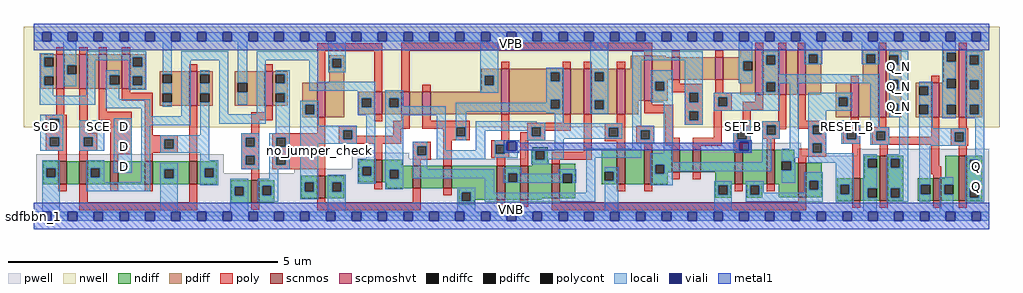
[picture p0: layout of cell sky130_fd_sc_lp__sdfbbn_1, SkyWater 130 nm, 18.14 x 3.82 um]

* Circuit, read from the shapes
.subckt sky130_fd_sc_lp__sdfbbn_1 CLK_N D RESET_B SCD SCE SET_B VGND VNB VPB VPWR Q Q_N
XM1 n1 SCD VGND VNB sky130_fd_pr__nfet_01v8 w=0.42 l=0.15
XM2 n2 SCE n1 VNB sky130_fd_pr__nfet_01v8 w=0.42 l=0.15
XM3 n3 D n2 VNB sky130_fd_pr__nfet_01v8 w=0.42 l=0.15
XM4 VGND n4 n3 VNB sky130_fd_pr__nfet_01v8 w=0.42 l=0.15
XM5 n4 SCE VGND VNB sky130_fd_pr__nfet_01v8 w=0.42 l=0.15
XM6 n5 CLK_N VGND VNB sky130_fd_pr__nfet_01v8 w=0.42 l=0.15
XM7 VGND n5 n6 VNB sky130_fd_pr__nfet_01v8 w=0.42 l=0.15
XM8 n7 n6 n2 VNB sky130_fd_pr__nfet_01v8 w=0.42 l=0.15
XM9 n8 n5 n7 VNB sky130_fd_pr__nfet_01v8 w=0.42 l=0.15
XM10 VGND n9 n8 VNB sky130_fd_pr__nfet_01v8 w=0.42 l=0.15
XM11 n10 SET_B VGND VNB sky130_fd_pr__nfet_01v8 w=0.64 l=0.15
XM12 n9 n7 n10 VNB sky130_fd_pr__nfet_01v8 w=0.64 l=0.15
XM13 n10 n11 n9 VNB sky130_fd_pr__nfet_01v8 w=0.64 l=0.15
XM14 n12 n9 VGND VNB sky130_fd_pr__nfet_01v8 w=0.64 l=0.15
XM15 n13 n5 n12 VNB sky130_fd_pr__nfet_01v8 w=0.64 l=0.15
XM16 n14 n6 n13 VNB sky130_fd_pr__nfet_01v8 w=0.42 l=0.15
XM17 VGND n15 n14 VNB sky130_fd_pr__nfet_01v8 w=0.42 l=0.15
XM18 n16 SET_B VGND VNB sky130_fd_pr__nfet_01v8 w=0.64 l=0.15
XM19 n15 n13 n16 VNB sky130_fd_pr__nfet_01v8 w=0.64 l=0.15
XM20 n16 n11 n15 VNB sky130_fd_pr__nfet_01v8 w=0.64 l=0.15
XM21 VGND RESET_B n11 VNB sky130_fd_pr__nfet_01v8 w=0.42 l=0.15
XM22 Q_N n15 VGND VNB sky130_fd_pr__nfet_01v8 w=0.84 l=0.15
XM23 VGND n15 n17 VNB sky130_fd_pr__nfet_01v8 w=0.42 l=0.15
XM24 Q n17 VGND VNB sky130_fd_pr__nfet_01v8 w=0.84 l=0.15
XM25 VPWR SCD n18 VPB sky130_fd_pr__pfet_01v8_hvt w=0.64 l=0.15
XM26 n19 SCE VPWR VPB sky130_fd_pr__pfet_01v8_hvt w=0.64 l=0.15
XM27 n2 D n19 VPB sky130_fd_pr__pfet_01v8_hvt w=0.64 l=0.15
XM28 n18 n4 n2 VPB sky130_fd_pr__pfet_01v8_hvt w=0.64 l=0.15
XM29 n4 SCE VPWR VPB sky130_fd_pr__pfet_01v8_hvt w=0.64 l=0.15
XM30 n5 CLK_N VPWR VPB sky130_fd_pr__pfet_01v8_hvt w=0.64 l=0.15
XM31 VPWR n5 n6 VPB sky130_fd_pr__pfet_01v8_hvt w=0.64 l=0.15
XM32 n7 n5 n2 VPB sky130_fd_pr__pfet_01v8_hvt w=0.42 l=0.15
XM33 n20 n6 n7 VPB sky130_fd_pr__pfet_01v8_hvt w=0.42 l=0.15
XM34 VPWR n9 n20 VPB sky130_fd_pr__pfet_01v8_hvt w=0.42 l=0.15
XM35 n9 SET_B VPWR VPB sky130_fd_pr__pfet_01v8_hvt w=0.84 l=0.15
XM36 n21 n7 n9 VPB sky130_fd_pr__pfet_01v8_hvt w=0.84 l=0.15
XM37 VPWR n11 n21 VPB sky130_fd_pr__pfet_01v8_hvt w=0.84 l=0.15
XM38 n22 n9 VPWR VPB sky130_fd_pr__pfet_01v8_hvt w=0.84 l=0.15
XM39 n13 n6 n22 VPB sky130_fd_pr__pfet_01v8_hvt w=0.84 l=0.15
XM40 n23 n5 n13 VPB sky130_fd_pr__pfet_01v8_hvt w=0.42 l=0.15
XM41 VPWR n15 n23 VPB sky130_fd_pr__pfet_01v8_hvt w=0.42 l=0.15
XM42 n15 SET_B VPWR VPB sky130_fd_pr__pfet_01v8_hvt w=0.84 l=0.15
XM43 n24 n13 n15 VPB sky130_fd_pr__pfet_01v8_hvt w=0.84 l=0.15
XM44 VPWR n11 n24 VPB sky130_fd_pr__pfet_01v8_hvt w=0.84 l=0.15
XM45 VPWR RESET_B n11 VPB sky130_fd_pr__pfet_01v8_hvt w=0.64 l=0.15
XM46 Q_N n15 VPWR VPB sky130_fd_pr__pfet_01v8_hvt w=1.26 l=0.15
XM47 VPWR n15 n17 VPB sky130_fd_pr__pfet_01v8_hvt w=0.64 l=0.15
XM48 Q n17 VPWR VPB sky130_fd_pr__pfet_01v8_hvt w=1.26 l=0.15
.ends

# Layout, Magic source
magic
tech sky130A
magscale 1 2
<< nwell >>
rect -38 331 3590 704
<< pwell >>
rect 1828 273 1937 281
rect 9 160 707 229
rect 1183 214 1395 235
rect 1828 224 2853 273
rect 3062 224 3551 251
rect 1828 214 3551 224
rect 1183 176 3551 214
rect 969 160 3551 176
rect 9 49 3551 160
rect 0 0 3552 49
<< scnmos >>
rect 92 119 122 203
rect 170 119 200 203
rect 284 119 314 203
rect 412 119 442 203
rect 578 119 608 203
rect 808 50 838 134
rect 1054 66 1084 150
rect 1266 125 1296 209
rect 1409 104 1439 188
rect 1523 104 1553 188
rect 1722 60 1752 188
rect 1809 60 1839 188
rect 1926 66 1956 194
rect 2168 119 2198 247
rect 2269 119 2299 247
rect 2371 163 2401 247
rect 2449 163 2479 247
rect 2606 119 2636 247
rect 2724 119 2754 247
rect 2842 70 2872 198
rect 3043 57 3073 141
rect 3145 57 3175 225
rect 3343 57 3373 141
rect 3438 57 3468 225
<< scpmoshvt >>
rect 84 474 114 602
rect 170 474 200 602
rect 242 474 272 602
rect 328 474 358 602
rect 578 411 608 539
rect 858 411 888 539
rect 1054 367 1084 495
rect 1265 379 1295 463
rect 1367 379 1397 463
rect 1445 379 1475 463
rect 1737 379 1767 547
rect 1966 379 1996 547
rect 2044 379 2074 547
rect 2168 379 2198 547
rect 2269 428 2299 596
rect 2371 506 2401 590
rect 2534 506 2564 590
rect 2682 451 2712 619
rect 2768 451 2798 619
rect 2840 451 2870 619
rect 3037 367 3067 495
rect 3139 367 3169 619
rect 3336 367 3366 495
rect 3438 367 3468 619
<< ndiff >>
rect 35 178 92 203
rect 35 144 47 178
rect 81 144 92 178
rect 35 119 92 144
rect 122 119 170 203
rect 200 178 284 203
rect 200 144 212 178
rect 246 144 284 178
rect 200 119 284 144
rect 314 119 412 203
rect 442 174 578 203
rect 442 140 486 174
rect 520 140 578 174
rect 442 119 578 140
rect 608 178 681 203
rect 608 144 635 178
rect 669 144 681 178
rect 608 119 681 144
rect 1209 184 1266 209
rect 1209 150 1221 184
rect 1255 150 1266 184
rect 735 109 808 134
rect 735 75 747 109
rect 781 75 808 109
rect 735 50 808 75
rect 838 112 895 134
rect 838 78 849 112
rect 883 78 895 112
rect 838 50 895 78
rect 995 125 1054 150
rect 995 91 1007 125
rect 1041 91 1054 125
rect 995 66 1054 91
rect 1084 125 1155 150
rect 1209 125 1266 150
rect 1296 188 1369 209
rect 1854 243 1911 255
rect 1854 209 1865 243
rect 1899 209 1911 243
rect 1854 194 1911 209
rect 1854 188 1926 194
rect 1296 173 1409 188
rect 1296 139 1323 173
rect 1357 139 1409 173
rect 1296 125 1409 139
rect 1084 91 1109 125
rect 1143 91 1155 125
rect 1311 104 1409 125
rect 1439 104 1523 188
rect 1553 104 1722 188
rect 1084 66 1155 91
rect 1579 89 1722 104
rect 1579 55 1591 89
rect 1625 60 1722 89
rect 1752 160 1809 188
rect 1752 126 1763 160
rect 1797 126 1809 160
rect 1752 60 1809 126
rect 1839 66 1926 188
rect 1956 158 2013 194
rect 1956 124 1967 158
rect 2001 124 2013 158
rect 1956 66 2013 124
rect 2111 165 2168 247
rect 2111 131 2123 165
rect 2157 131 2168 165
rect 2111 119 2168 131
rect 2198 119 2269 247
rect 2299 191 2371 247
rect 2299 157 2310 191
rect 2344 163 2371 191
rect 2401 163 2449 247
rect 2479 163 2606 247
rect 2344 157 2356 163
rect 2299 119 2356 157
rect 2533 119 2606 163
rect 2636 119 2724 247
rect 2754 204 2827 247
rect 2754 170 2781 204
rect 2815 198 2827 204
rect 2815 170 2842 198
rect 2754 119 2842 170
rect 2533 114 2591 119
rect 2533 80 2545 114
rect 2579 80 2591 114
rect 2651 114 2709 119
rect 2533 68 2591 80
rect 2651 80 2663 114
rect 2697 80 2709 114
rect 2651 68 2709 80
rect 2769 70 2842 119
rect 2872 131 2929 198
rect 3088 213 3145 225
rect 3088 179 3100 213
rect 3134 179 3145 213
rect 3088 141 3145 179
rect 2872 97 2883 131
rect 2917 97 2929 131
rect 2872 70 2929 97
rect 2986 116 3043 141
rect 2986 82 2998 116
rect 3032 82 3043 116
rect 1839 60 1889 66
rect 1625 55 1637 60
rect 1579 43 1637 55
rect 2986 57 3043 82
rect 3073 103 3145 141
rect 3073 69 3100 103
rect 3134 69 3145 103
rect 3073 57 3145 69
rect 3175 213 3232 225
rect 3175 179 3186 213
rect 3220 179 3232 213
rect 3175 103 3232 179
rect 3388 141 3438 225
rect 3175 69 3186 103
rect 3220 69 3232 103
rect 3175 57 3232 69
rect 3286 116 3343 141
rect 3286 82 3298 116
rect 3332 82 3343 116
rect 3286 57 3343 82
rect 3373 116 3438 141
rect 3373 82 3384 116
rect 3418 82 3438 116
rect 3373 57 3438 82
rect 3468 209 3525 225
rect 3468 175 3479 209
rect 3513 175 3525 209
rect 3468 103 3525 175
rect 3468 69 3479 103
rect 3513 69 3525 103
rect 3468 57 3525 69
<< pdiff >>
rect 27 590 84 602
rect 27 556 39 590
rect 73 556 84 590
rect 27 520 84 556
rect 27 486 39 520
rect 73 486 84 520
rect 27 474 84 486
rect 114 561 170 602
rect 114 527 125 561
rect 159 527 170 561
rect 114 474 170 527
rect 200 474 242 602
rect 272 523 328 602
rect 272 489 283 523
rect 317 489 328 523
rect 272 474 328 489
rect 358 590 414 602
rect 358 556 369 590
rect 403 556 414 590
rect 358 520 414 556
rect 358 486 369 520
rect 403 486 414 520
rect 358 474 414 486
rect 468 527 578 539
rect 468 493 479 527
rect 513 493 578 527
rect 468 457 578 493
rect 468 423 479 457
rect 513 423 578 457
rect 468 411 578 423
rect 608 527 665 539
rect 608 493 619 527
rect 653 493 665 527
rect 608 457 665 493
rect 608 423 619 457
rect 653 423 665 457
rect 608 411 665 423
rect 747 495 858 539
rect 747 461 759 495
rect 793 461 858 495
rect 747 411 858 461
rect 888 527 944 539
rect 888 493 899 527
rect 933 493 944 527
rect 1099 585 1155 597
rect 1099 551 1110 585
rect 1144 551 1155 585
rect 1099 495 1155 551
rect 888 457 944 493
rect 888 423 899 457
rect 933 423 944 457
rect 888 411 944 423
rect 998 413 1054 495
rect 998 379 1009 413
rect 1043 379 1054 413
rect 998 367 1054 379
rect 1084 367 1155 495
rect 2219 547 2269 596
rect 1664 521 1737 547
rect 1664 487 1676 521
rect 1710 487 1737 521
rect 1664 463 1737 487
rect 1209 438 1265 463
rect 1209 404 1220 438
rect 1254 404 1265 438
rect 1209 379 1265 404
rect 1295 438 1367 463
rect 1295 404 1322 438
rect 1356 404 1367 438
rect 1295 379 1367 404
rect 1397 379 1445 463
rect 1475 379 1737 463
rect 1767 535 1966 547
rect 1767 501 1921 535
rect 1955 501 1966 535
rect 1767 433 1966 501
rect 1767 399 1921 433
rect 1955 399 1966 433
rect 1767 379 1966 399
rect 1996 379 2044 547
rect 2074 535 2168 547
rect 2074 501 2085 535
rect 2119 501 2168 535
rect 2074 431 2168 501
rect 2074 397 2085 431
rect 2119 397 2168 431
rect 2074 379 2168 397
rect 2198 428 2269 547
rect 2299 590 2349 596
rect 2626 590 2682 619
rect 2299 506 2371 590
rect 2401 506 2534 590
rect 2564 575 2682 590
rect 2564 541 2637 575
rect 2671 541 2682 575
rect 2564 506 2682 541
rect 2299 500 2356 506
rect 2299 466 2310 500
rect 2344 466 2356 500
rect 2299 428 2356 466
rect 2198 379 2248 428
rect 2626 451 2682 506
rect 2712 597 2768 619
rect 2712 563 2723 597
rect 2757 563 2768 597
rect 2712 497 2768 563
rect 2712 463 2723 497
rect 2757 463 2768 497
rect 2712 451 2768 463
rect 2798 451 2840 619
rect 2870 602 2927 619
rect 2870 568 2881 602
rect 2915 568 2927 602
rect 2870 451 2927 568
rect 3082 602 3139 619
rect 3082 568 3094 602
rect 3128 568 3139 602
rect 3082 495 3139 568
rect 2981 442 3037 495
rect 2981 408 2992 442
rect 3026 408 3037 442
rect 2981 367 3037 408
rect 3067 367 3139 495
rect 3169 597 3225 619
rect 3169 563 3180 597
rect 3214 563 3225 597
rect 3169 507 3225 563
rect 3381 607 3438 619
rect 3381 573 3393 607
rect 3427 573 3438 607
rect 3169 473 3180 507
rect 3214 473 3225 507
rect 3381 510 3438 573
rect 3381 495 3393 510
rect 3169 417 3225 473
rect 3169 383 3180 417
rect 3214 383 3225 417
rect 3169 367 3225 383
rect 3279 483 3336 495
rect 3279 449 3291 483
rect 3325 449 3336 483
rect 3279 413 3336 449
rect 3279 379 3291 413
rect 3325 379 3336 413
rect 3279 367 3336 379
rect 3366 476 3393 495
rect 3427 476 3438 510
rect 3366 413 3438 476
rect 3366 379 3393 413
rect 3427 379 3438 413
rect 3366 367 3438 379
rect 3468 597 3525 619
rect 3468 563 3479 597
rect 3513 563 3525 597
rect 3468 505 3525 563
rect 3468 471 3479 505
rect 3513 471 3525 505
rect 3468 413 3525 471
rect 3468 379 3479 413
rect 3513 379 3525 413
rect 3468 367 3525 379
<< ndiffc >>
rect 47 144 81 178
rect 212 144 246 178
rect 486 140 520 174
rect 635 144 669 178
rect 1221 150 1255 184
rect 747 75 781 109
rect 849 78 883 112
rect 1007 91 1041 125
rect 1865 209 1899 243
rect 1323 139 1357 173
rect 1109 91 1143 125
rect 1591 55 1625 89
rect 1763 126 1797 160
rect 1967 124 2001 158
rect 2123 131 2157 165
rect 2310 157 2344 191
rect 2781 170 2815 204
rect 2545 80 2579 114
rect 2663 80 2697 114
rect 3100 179 3134 213
rect 2883 97 2917 131
rect 2998 82 3032 116
rect 3100 69 3134 103
rect 3186 179 3220 213
rect 3186 69 3220 103
rect 3298 82 3332 116
rect 3384 82 3418 116
rect 3479 175 3513 209
rect 3479 69 3513 103
<< pdiffc >>
rect 39 556 73 590
rect 39 486 73 520
rect 125 527 159 561
rect 283 489 317 523
rect 369 556 403 590
rect 369 486 403 520
rect 479 493 513 527
rect 479 423 513 457
rect 619 493 653 527
rect 619 423 653 457
rect 759 461 793 495
rect 899 493 933 527
rect 1110 551 1144 585
rect 899 423 933 457
rect 1009 379 1043 413
rect 1676 487 1710 521
rect 1220 404 1254 438
rect 1322 404 1356 438
rect 1921 501 1955 535
rect 1921 399 1955 433
rect 2085 501 2119 535
rect 2085 397 2119 431
rect 2637 541 2671 575
rect 2310 466 2344 500
rect 2723 563 2757 597
rect 2723 463 2757 497
rect 2881 568 2915 602
rect 3094 568 3128 602
rect 2992 408 3026 442
rect 3180 563 3214 597
rect 3393 573 3427 607
rect 3180 473 3214 507
rect 3180 383 3214 417
rect 3291 449 3325 483
rect 3291 379 3325 413
rect 3393 476 3427 510
rect 3393 379 3427 413
rect 3479 563 3513 597
rect 3479 471 3513 505
rect 3479 379 3513 413
<< poly >>
rect 84 602 114 628
rect 170 602 200 628
rect 242 602 272 628
rect 328 602 358 628
rect 1054 612 1295 642
rect 578 539 608 565
rect 858 539 888 565
rect 84 377 114 474
rect 44 361 122 377
rect 44 327 60 361
rect 94 327 122 361
rect 44 293 122 327
rect 44 259 60 293
rect 94 259 122 293
rect 44 243 122 259
rect 92 203 122 243
rect 170 309 200 474
rect 242 387 272 474
rect 328 459 358 474
rect 328 429 442 459
rect 242 357 364 387
rect 284 348 364 357
rect 284 314 314 348
rect 348 314 364 348
rect 170 293 236 309
rect 170 259 186 293
rect 220 259 236 293
rect 170 243 236 259
rect 284 280 364 314
rect 284 246 314 280
rect 348 246 364 280
rect 170 203 200 243
rect 284 230 364 246
rect 412 301 442 429
rect 1054 495 1084 612
rect 412 285 536 301
rect 412 251 486 285
rect 520 251 536 285
rect 412 235 536 251
rect 284 203 314 230
rect 412 203 442 235
rect 578 203 608 411
rect 858 386 888 411
rect 808 356 888 386
rect 1265 463 1295 612
rect 1367 615 2299 645
rect 2682 619 2712 645
rect 2768 619 2798 645
rect 2840 619 2870 645
rect 3139 619 3169 645
rect 3438 619 3468 645
rect 1367 463 1397 615
rect 2269 596 2299 615
rect 1737 547 1767 573
rect 1966 547 1996 573
rect 2044 547 2074 573
rect 2168 547 2198 573
rect 1445 463 1475 489
rect 2371 590 2401 616
rect 2534 590 2564 616
rect 2371 491 2401 506
rect 2371 461 2486 491
rect 2420 458 2486 461
rect 2534 458 2564 506
rect 2269 413 2299 428
rect 2420 424 2436 458
rect 2470 424 2486 458
rect 2269 383 2378 413
rect 808 308 838 356
rect 1054 308 1084 367
rect 1265 353 1295 379
rect 1367 354 1397 379
rect 772 292 838 308
rect 772 258 788 292
rect 822 258 838 292
rect 772 224 838 258
rect 772 190 788 224
rect 822 190 838 224
rect 772 174 838 190
rect 886 292 1084 308
rect 886 258 902 292
rect 936 258 1084 292
rect 1134 319 1200 335
rect 1134 285 1150 319
rect 1184 299 1200 319
rect 1337 324 1397 354
rect 1445 354 1475 379
rect 1445 331 1621 354
rect 1445 324 1571 331
rect 1337 299 1367 324
rect 1184 285 1367 299
rect 1134 269 1367 285
rect 1523 297 1571 324
rect 1605 297 1621 331
rect 1523 281 1621 297
rect 1737 282 1767 379
rect 1966 347 1996 379
rect 1835 331 1996 347
rect 1835 311 1851 331
rect 886 224 1084 258
rect 886 190 902 224
rect 936 190 1084 224
rect 1266 209 1296 269
rect 1409 260 1475 276
rect 1409 226 1425 260
rect 1459 226 1475 260
rect 1409 210 1475 226
rect 886 174 1084 190
rect 808 134 838 174
rect 1054 150 1084 174
rect 92 93 122 119
rect 170 51 200 119
rect 284 93 314 119
rect 412 93 442 119
rect 578 51 608 119
rect 170 21 608 51
rect 1409 188 1439 210
rect 1523 188 1553 281
rect 1701 266 1767 282
rect 1701 232 1717 266
rect 1751 232 1767 266
rect 1701 216 1767 232
rect 1809 297 1851 311
rect 1885 317 1996 331
rect 1885 297 1901 317
rect 1809 281 1901 297
rect 1722 188 1752 216
rect 1809 188 1839 281
rect 2044 239 2074 379
rect 2168 345 2198 379
rect 2122 329 2198 345
rect 2122 295 2138 329
rect 2172 295 2198 329
rect 2122 279 2198 295
rect 2168 247 2198 279
rect 2240 319 2306 335
rect 2240 285 2256 319
rect 2290 285 2306 319
rect 2240 269 2306 285
rect 2348 292 2378 383
rect 2420 390 2486 424
rect 2420 356 2436 390
rect 2470 356 2486 390
rect 2420 340 2486 356
rect 2528 442 2594 458
rect 3037 495 3067 521
rect 2528 408 2544 442
rect 2578 408 2594 442
rect 2682 425 2712 451
rect 2528 392 2594 408
rect 2636 395 2712 425
rect 2528 292 2558 392
rect 2636 335 2666 395
rect 2768 353 2798 451
rect 2269 247 2299 269
rect 2348 262 2401 292
rect 2371 247 2401 262
rect 2449 262 2558 292
rect 2600 319 2666 335
rect 2600 285 2616 319
rect 2650 285 2666 319
rect 2708 337 2798 353
rect 2708 303 2724 337
rect 2758 323 2798 337
rect 2840 354 2870 451
rect 3336 495 3366 521
rect 2840 338 2946 354
rect 2840 324 2896 338
rect 2758 303 2774 323
rect 2708 287 2774 303
rect 2880 304 2896 324
rect 2930 304 2946 338
rect 3037 335 3067 367
rect 2600 269 2666 285
rect 2449 247 2479 262
rect 2606 247 2636 269
rect 2724 247 2754 287
rect 2880 270 2946 304
rect 2880 250 2896 270
rect 1926 209 2074 239
rect 1926 194 1956 209
rect 1266 99 1296 125
rect 1054 51 1084 66
rect 1409 51 1439 104
rect 1523 78 1553 104
rect 808 24 838 50
rect 1054 21 1439 51
rect 2371 137 2401 163
rect 2449 137 2479 163
rect 2842 236 2896 250
rect 2930 236 2946 270
rect 3007 319 3073 335
rect 3139 331 3169 367
rect 3007 285 3023 319
rect 3057 285 3073 319
rect 3007 269 3073 285
rect 2842 220 2946 236
rect 2842 198 2872 220
rect 2168 93 2198 119
rect 2269 93 2299 119
rect 2606 93 2636 119
rect 2724 93 2754 119
rect 3043 141 3073 269
rect 3115 315 3181 331
rect 3115 281 3131 315
rect 3165 295 3181 315
rect 3336 295 3366 367
rect 3438 327 3468 367
rect 3165 281 3366 295
rect 3115 265 3366 281
rect 3145 225 3175 265
rect 1722 34 1752 60
rect 1809 34 1839 60
rect 1926 51 1956 66
rect 2842 51 2872 70
rect 3336 186 3366 265
rect 3408 311 3474 327
rect 3408 277 3424 311
rect 3458 277 3474 311
rect 3408 261 3474 277
rect 3438 225 3468 261
rect 3336 156 3373 186
rect 3343 141 3373 156
rect 1926 21 2872 51
rect 3043 31 3073 57
rect 3145 31 3175 57
rect 3343 31 3373 57
rect 3438 31 3468 57
<< polycont >>
rect 60 327 94 361
rect 60 259 94 293
rect 314 314 348 348
rect 186 259 220 293
rect 314 246 348 280
rect 486 251 520 285
rect 2436 424 2470 458
rect 788 258 822 292
rect 788 190 822 224
rect 902 258 936 292
rect 1150 285 1184 319
rect 1571 297 1605 331
rect 902 190 936 224
rect 1425 226 1459 260
rect 1717 232 1751 266
rect 1851 297 1885 331
rect 2138 295 2172 329
rect 2256 285 2290 319
rect 2436 356 2470 390
rect 2544 408 2578 442
rect 2616 285 2650 319
rect 2724 303 2758 337
rect 2896 304 2930 338
rect 2896 236 2930 270
rect 3023 285 3057 319
rect 3131 281 3165 315
rect 3424 277 3458 311
<< locali >>
rect 0 649 31 683
rect 65 649 127 683
rect 161 649 223 683
rect 257 649 319 683
rect 353 649 415 683
rect 449 649 511 683
rect 545 649 607 683
rect 641 649 703 683
rect 737 649 799 683
rect 833 649 895 683
rect 929 649 991 683
rect 1025 649 1087 683
rect 1121 649 1183 683
rect 1217 649 1279 683
rect 1313 649 1375 683
rect 1409 649 1471 683
rect 1505 649 1567 683
rect 1601 649 1663 683
rect 1697 649 1759 683
rect 1793 649 1855 683
rect 1889 649 1951 683
rect 1985 649 2047 683
rect 2081 649 2143 683
rect 2177 649 2239 683
rect 2273 649 2335 683
rect 2369 649 2431 683
rect 2465 649 2527 683
rect 2561 649 2623 683
rect 2657 649 2719 683
rect 2753 649 2815 683
rect 2849 649 2911 683
rect 2945 649 3007 683
rect 3041 649 3103 683
rect 3137 649 3199 683
rect 3233 649 3295 683
rect 3329 649 3391 683
rect 3425 649 3487 683
rect 3521 649 3552 683
rect 23 590 73 606
rect 23 556 39 590
rect 23 520 73 556
rect 23 486 39 520
rect 23 447 73 486
rect 109 561 159 649
rect 109 527 125 561
rect 109 483 159 527
rect 195 590 419 613
rect 195 579 369 590
rect 195 447 229 579
rect 353 556 369 579
rect 403 556 419 590
rect 23 413 229 447
rect 267 523 317 543
rect 267 489 283 523
rect 267 434 317 489
rect 353 520 419 556
rect 353 486 369 520
rect 403 486 419 520
rect 353 470 419 486
rect 479 527 513 649
rect 479 457 513 493
rect 267 400 434 434
rect 479 407 513 423
rect 549 579 723 613
rect 25 361 110 377
rect 400 371 434 400
rect 549 371 583 579
rect 25 327 60 361
rect 94 327 110 361
rect 25 293 110 327
rect 25 259 60 293
rect 94 259 110 293
rect 25 243 110 259
rect 170 293 262 356
rect 170 259 186 293
rect 220 259 262 293
rect 170 243 262 259
rect 298 348 364 364
rect 298 314 314 348
rect 348 314 364 348
rect 298 280 364 314
rect 298 246 314 280
rect 348 246 364 280
rect 31 178 97 207
rect 31 144 47 178
rect 81 144 97 178
rect 31 17 97 144
rect 196 178 262 207
rect 196 144 212 178
rect 246 144 262 178
rect 298 162 364 246
rect 400 337 583 371
rect 619 527 653 543
rect 619 457 653 493
rect 196 126 262 144
rect 400 126 434 337
rect 619 301 653 423
rect 689 378 723 579
rect 759 495 793 649
rect 759 414 793 461
rect 829 579 1058 613
rect 829 378 863 579
rect 689 344 863 378
rect 899 527 952 543
rect 933 493 952 527
rect 899 457 952 493
rect 1024 499 1058 579
rect 1094 585 1160 649
rect 1094 551 1110 585
rect 1144 551 1160 585
rect 1094 535 1160 551
rect 1660 521 1726 649
rect 1024 465 1270 499
rect 1660 487 1676 521
rect 1710 487 1726 521
rect 933 423 952 457
rect 1204 438 1270 465
rect 899 308 952 423
rect 470 285 653 301
rect 470 251 486 285
rect 520 251 653 285
rect 470 235 653 251
rect 619 207 653 235
rect 772 292 839 308
rect 772 258 788 292
rect 822 258 839 292
rect 772 224 839 258
rect 196 92 434 126
rect 470 174 536 199
rect 470 140 486 174
rect 520 140 536 174
rect 470 17 536 140
rect 619 178 685 207
rect 619 144 635 178
rect 669 144 685 178
rect 772 190 788 224
rect 822 190 839 224
rect 772 174 839 190
rect 875 292 952 308
rect 875 258 902 292
rect 936 258 952 292
rect 875 224 952 258
rect 875 190 902 224
rect 936 190 952 224
rect 875 174 952 190
rect 991 413 1059 429
rect 991 379 1009 413
rect 1043 379 1059 413
rect 991 335 1059 379
rect 1204 404 1220 438
rect 1254 404 1270 438
rect 1204 375 1270 404
rect 1306 438 1373 467
rect 1660 458 1726 487
rect 1905 535 1971 551
rect 1905 501 1921 535
rect 1955 501 1971 535
rect 1306 404 1322 438
rect 1356 409 1373 438
rect 1905 433 1971 501
rect 1905 422 1921 433
rect 1356 404 1532 409
rect 1306 375 1532 404
rect 991 319 1200 335
rect 991 285 1150 319
rect 1184 285 1200 319
rect 991 269 1200 285
rect 619 115 685 144
rect 875 138 909 174
rect 731 109 797 138
rect 731 75 747 109
rect 781 75 797 109
rect 731 17 797 75
rect 833 112 909 138
rect 833 78 849 112
rect 883 78 909 112
rect 833 53 909 78
rect 991 125 1057 269
rect 1236 213 1270 375
rect 1205 184 1271 213
rect 991 91 1007 125
rect 1041 91 1057 125
rect 991 62 1057 91
rect 1093 125 1159 154
rect 1093 91 1109 125
rect 1143 91 1159 125
rect 1205 150 1221 184
rect 1255 150 1271 184
rect 1205 121 1271 150
rect 1307 173 1373 375
rect 1307 139 1323 173
rect 1357 139 1373 173
rect 1409 260 1462 276
rect 1409 226 1425 260
rect 1459 226 1462 260
rect 1409 175 1462 226
rect 1498 245 1532 375
rect 1568 399 1921 422
rect 1955 399 1971 433
rect 1568 388 1971 399
rect 1568 331 1608 388
rect 1905 383 1971 388
rect 1568 297 1571 331
rect 1605 297 1608 331
rect 1568 281 1608 297
rect 1644 347 1869 352
rect 1644 331 1901 347
rect 1644 318 1851 331
rect 1644 245 1678 318
rect 1835 297 1851 318
rect 1885 297 1901 331
rect 1498 211 1678 245
rect 1714 276 1799 282
rect 1835 281 1901 297
rect 1937 345 1971 383
rect 2069 535 2135 649
rect 2069 501 2085 535
rect 2119 501 2135 535
rect 2069 431 2135 501
rect 2069 397 2085 431
rect 2119 397 2135 431
rect 2069 381 2135 397
rect 2224 579 2486 613
rect 1937 329 2188 345
rect 1937 295 2138 329
rect 2172 295 2188 329
rect 1937 287 2188 295
rect 2224 335 2258 579
rect 2294 500 2376 543
rect 2294 466 2310 500
rect 2344 466 2376 500
rect 2294 424 2376 466
rect 2224 319 2306 335
rect 1714 266 1759 276
rect 1714 232 1717 266
rect 1751 242 1759 266
rect 1793 242 1799 276
rect 1937 245 1971 287
rect 2224 285 2256 319
rect 2290 285 2306 319
rect 2224 269 2306 285
rect 2224 251 2258 269
rect 1751 232 1799 242
rect 1714 216 1799 232
rect 1849 243 1971 245
rect 1849 209 1865 243
rect 1899 211 1971 243
rect 2053 217 2258 251
rect 2342 233 2376 424
rect 2420 458 2486 579
rect 2621 575 2671 649
rect 2621 541 2637 575
rect 2621 494 2671 541
rect 2707 597 2773 613
rect 2707 563 2723 597
rect 2757 563 2773 597
rect 2865 602 2931 649
rect 2865 568 2881 602
rect 2915 568 2931 602
rect 2865 564 2931 568
rect 3078 602 3144 649
rect 3078 568 3094 602
rect 3128 568 3144 602
rect 3078 564 3144 568
rect 3180 597 3251 613
rect 2707 528 2773 563
rect 3214 563 3251 597
rect 2707 497 3144 528
rect 2707 463 2723 497
rect 2757 494 3144 497
rect 2757 463 2773 494
rect 2707 458 2773 463
rect 2420 424 2436 458
rect 2470 424 2486 458
rect 2420 390 2486 424
rect 2528 442 2773 458
rect 2528 408 2544 442
rect 2578 408 2773 442
rect 2528 392 2773 408
rect 2420 356 2436 390
rect 2470 356 2486 390
rect 2420 340 2486 356
rect 2600 319 2666 356
rect 2600 285 2616 319
rect 2650 285 2666 319
rect 2600 276 2666 285
rect 2600 242 2623 276
rect 2657 242 2666 276
rect 2600 236 2666 242
rect 2708 337 2774 353
rect 2708 303 2724 337
rect 2758 303 2774 337
rect 2708 287 2774 303
rect 1899 209 1915 211
rect 1849 193 1915 209
rect 1409 141 1711 175
rect 1307 100 1373 139
rect 1093 17 1159 91
rect 1575 89 1641 105
rect 1575 55 1591 89
rect 1625 55 1641 89
rect 1575 17 1641 55
rect 1677 87 1711 141
rect 1747 160 1813 180
rect 1747 126 1763 160
rect 1797 157 1813 160
rect 1951 158 2017 175
rect 1951 157 1967 158
rect 1797 126 1967 157
rect 1747 124 1967 126
rect 2001 124 2017 158
rect 1747 123 2017 124
rect 2053 87 2087 217
rect 2294 200 2376 233
rect 2708 200 2742 287
rect 2810 251 2844 494
rect 2294 191 2742 200
rect 1677 53 2087 87
rect 2123 165 2173 181
rect 2157 131 2173 165
rect 2123 17 2173 131
rect 2294 157 2310 191
rect 2344 166 2742 191
rect 2781 217 2844 251
rect 2880 442 3042 458
rect 2880 408 2992 442
rect 3026 408 3042 442
rect 2880 392 3042 408
rect 2880 338 2946 392
rect 2880 304 2896 338
rect 2930 304 2946 338
rect 2880 270 2946 304
rect 2880 236 2896 270
rect 2930 236 2946 270
rect 3001 319 3073 356
rect 3001 285 3023 319
rect 3057 285 3073 319
rect 3001 269 3073 285
rect 3110 331 3144 494
rect 3180 507 3251 563
rect 3214 473 3251 507
rect 3377 607 3427 649
rect 3377 573 3393 607
rect 3377 510 3427 573
rect 3180 417 3251 473
rect 3214 383 3251 417
rect 3180 367 3251 383
rect 3110 315 3181 331
rect 3110 281 3131 315
rect 3165 281 3181 315
rect 3110 265 3181 281
rect 2880 233 2946 236
rect 2781 204 2831 217
rect 2815 170 2831 204
rect 2880 199 3048 233
rect 3217 229 3251 367
rect 2344 157 2376 166
rect 2294 115 2376 157
rect 2529 114 2595 130
rect 2529 80 2545 114
rect 2579 80 2595 114
rect 2529 17 2595 80
rect 2647 114 2713 130
rect 2781 123 2831 170
rect 2867 131 2933 163
rect 2647 80 2663 114
rect 2697 87 2713 114
rect 2867 97 2883 131
rect 2917 97 2933 131
rect 2867 87 2933 97
rect 2697 80 2933 87
rect 2647 53 2933 80
rect 2982 116 3048 199
rect 2982 82 2998 116
rect 3032 82 3048 116
rect 2982 53 3048 82
rect 3084 213 3134 229
rect 3084 179 3100 213
rect 3084 103 3134 179
rect 3084 69 3100 103
rect 3084 17 3134 69
rect 3170 213 3251 229
rect 3170 179 3186 213
rect 3220 179 3251 213
rect 3170 103 3251 179
rect 3170 69 3186 103
rect 3220 69 3251 103
rect 3170 53 3251 69
rect 3291 483 3341 499
rect 3325 449 3341 483
rect 3291 413 3341 449
rect 3325 379 3341 413
rect 3291 327 3341 379
rect 3377 476 3393 510
rect 3377 413 3427 476
rect 3377 379 3393 413
rect 3377 363 3427 379
rect 3463 597 3534 613
rect 3463 563 3479 597
rect 3513 563 3534 597
rect 3463 505 3534 563
rect 3463 471 3479 505
rect 3513 471 3534 505
rect 3463 413 3534 471
rect 3463 379 3479 413
rect 3513 379 3534 413
rect 3463 363 3534 379
rect 3291 311 3464 327
rect 3291 277 3424 311
rect 3458 277 3464 311
rect 3291 261 3464 277
rect 3291 116 3332 261
rect 3500 225 3534 363
rect 3463 209 3534 225
rect 3463 175 3479 209
rect 3513 175 3534 209
rect 3291 82 3298 116
rect 3291 53 3332 82
rect 3368 116 3418 145
rect 3368 82 3384 116
rect 3368 17 3418 82
rect 3463 103 3534 175
rect 3463 69 3479 103
rect 3513 69 3534 103
rect 3463 53 3534 69
rect 0 -17 31 17
rect 65 -17 127 17
rect 161 -17 223 17
rect 257 -17 319 17
rect 353 -17 415 17
rect 449 -17 511 17
rect 545 -17 607 17
rect 641 -17 703 17
rect 737 -17 799 17
rect 833 -17 895 17
rect 929 -17 991 17
rect 1025 -17 1087 17
rect 1121 -17 1183 17
rect 1217 -17 1279 17
rect 1313 -17 1375 17
rect 1409 -17 1471 17
rect 1505 -17 1567 17
rect 1601 -17 1663 17
rect 1697 -17 1759 17
rect 1793 -17 1855 17
rect 1889 -17 1951 17
rect 1985 -17 2047 17
rect 2081 -17 2143 17
rect 2177 -17 2239 17
rect 2273 -17 2335 17
rect 2369 -17 2431 17
rect 2465 -17 2527 17
rect 2561 -17 2623 17
rect 2657 -17 2719 17
rect 2753 -17 2815 17
rect 2849 -17 2911 17
rect 2945 -17 3007 17
rect 3041 -17 3103 17
rect 3137 -17 3199 17
rect 3233 -17 3295 17
rect 3329 -17 3391 17
rect 3425 -17 3487 17
rect 3521 -17 3552 17
<< viali >>
rect 31 649 65 683
rect 127 649 161 683
rect 223 649 257 683
rect 319 649 353 683
rect 415 649 449 683
rect 511 649 545 683
rect 607 649 641 683
rect 703 649 737 683
rect 799 649 833 683
rect 895 649 929 683
rect 991 649 1025 683
rect 1087 649 1121 683
rect 1183 649 1217 683
rect 1279 649 1313 683
rect 1375 649 1409 683
rect 1471 649 1505 683
rect 1567 649 1601 683
rect 1663 649 1697 683
rect 1759 649 1793 683
rect 1855 649 1889 683
rect 1951 649 1985 683
rect 2047 649 2081 683
rect 2143 649 2177 683
rect 2239 649 2273 683
rect 2335 649 2369 683
rect 2431 649 2465 683
rect 2527 649 2561 683
rect 2623 649 2657 683
rect 2719 649 2753 683
rect 2815 649 2849 683
rect 2911 649 2945 683
rect 3007 649 3041 683
rect 3103 649 3137 683
rect 3199 649 3233 683
rect 3295 649 3329 683
rect 3391 649 3425 683
rect 3487 649 3521 683
rect 1759 242 1793 276
rect 2623 242 2657 276
rect 31 -17 65 17
rect 127 -17 161 17
rect 223 -17 257 17
rect 319 -17 353 17
rect 415 -17 449 17
rect 511 -17 545 17
rect 607 -17 641 17
rect 703 -17 737 17
rect 799 -17 833 17
rect 895 -17 929 17
rect 991 -17 1025 17
rect 1087 -17 1121 17
rect 1183 -17 1217 17
rect 1279 -17 1313 17
rect 1375 -17 1409 17
rect 1471 -17 1505 17
rect 1567 -17 1601 17
rect 1663 -17 1697 17
rect 1759 -17 1793 17
rect 1855 -17 1889 17
rect 1951 -17 1985 17
rect 2047 -17 2081 17
rect 2143 -17 2177 17
rect 2239 -17 2273 17
rect 2335 -17 2369 17
rect 2431 -17 2465 17
rect 2527 -17 2561 17
rect 2623 -17 2657 17
rect 2719 -17 2753 17
rect 2815 -17 2849 17
rect 2911 -17 2945 17
rect 3007 -17 3041 17
rect 3103 -17 3137 17
rect 3199 -17 3233 17
rect 3295 -17 3329 17
rect 3391 -17 3425 17
rect 3487 -17 3521 17
<< metal1 >>
rect 0 683 3552 715
rect 0 649 31 683
rect 65 649 127 683
rect 161 649 223 683
rect 257 649 319 683
rect 353 649 415 683
rect 449 649 511 683
rect 545 649 607 683
rect 641 649 703 683
rect 737 649 799 683
rect 833 649 895 683
rect 929 649 991 683
rect 1025 649 1087 683
rect 1121 649 1183 683
rect 1217 649 1279 683
rect 1313 649 1375 683
rect 1409 649 1471 683
rect 1505 649 1567 683
rect 1601 649 1663 683
rect 1697 649 1759 683
rect 1793 649 1855 683
rect 1889 649 1951 683
rect 1985 649 2047 683
rect 2081 649 2143 683
rect 2177 649 2239 683
rect 2273 649 2335 683
rect 2369 649 2431 683
rect 2465 649 2527 683
rect 2561 649 2623 683
rect 2657 649 2719 683
rect 2753 649 2815 683
rect 2849 649 2911 683
rect 2945 649 3007 683
rect 3041 649 3103 683
rect 3137 649 3199 683
rect 3233 649 3295 683
rect 3329 649 3391 683
rect 3425 649 3487 683
rect 3521 649 3552 683
rect 0 617 3552 649
rect 1747 276 1805 282
rect 1747 242 1759 276
rect 1793 273 1805 276
rect 2611 276 2669 282
rect 2611 273 2623 276
rect 1793 245 2623 273
rect 1793 242 1805 245
rect 1747 236 1805 242
rect 2611 242 2623 245
rect 2657 242 2669 276
rect 2611 236 2669 242
rect 0 17 3552 49
rect 0 -17 31 17
rect 65 -17 127 17
rect 161 -17 223 17
rect 257 -17 319 17
rect 353 -17 415 17
rect 449 -17 511 17
rect 545 -17 607 17
rect 641 -17 703 17
rect 737 -17 799 17
rect 833 -17 895 17
rect 929 -17 991 17
rect 1025 -17 1087 17
rect 1121 -17 1183 17
rect 1217 -17 1279 17
rect 1313 -17 1375 17
rect 1409 -17 1471 17
rect 1505 -17 1567 17
rect 1601 -17 1663 17
rect 1697 -17 1759 17
rect 1793 -17 1855 17
rect 1889 -17 1951 17
rect 1985 -17 2047 17
rect 2081 -17 2143 17
rect 2177 -17 2239 17
rect 2273 -17 2335 17
rect 2369 -17 2431 17
rect 2465 -17 2527 17
rect 2561 -17 2623 17
rect 2657 -17 2719 17
rect 2753 -17 2815 17
rect 2849 -17 2911 17
rect 2945 -17 3007 17
rect 3041 -17 3103 17
rect 3137 -17 3199 17
rect 3233 -17 3295 17
rect 3329 -17 3391 17
rect 3425 -17 3487 17
rect 3521 -17 3552 17
rect 0 -49 3552 -17
<< labels >>
flabel pwell s 0 0 3552 49 0 FreeSans 200 0 0 0 VNB
port 8 nsew ground bidirectional
flabel nwell s 0 617 3552 666 0 FreeSans 200 0 0 0 VPB
port 9 nsew power bidirectional
rlabel comment s 0 0 0 0 4 sdfbbn_1
flabel comment s 1064 243 1064 243 0 FreeSans 200 90 0 0 no_jumper_check
flabel metal1 s 0 617 3552 666 0 FreeSans 340 0 0 0 VPWR
port 10 nsew power bidirectional
flabel metal1 s 0 0 3552 49 0 FreeSans 340 0 0 0 VGND
port 7 nsew ground bidirectional
flabel locali s 3007 316 3041 350 0 FreeSans 340 0 0 0 RESET_B
port 3 nsew signal input
flabel locali s 3487 94 3521 128 0 FreeSans 340 0 0 0 Q
port 11 nsew signal output
flabel locali s 3487 168 3521 202 0 FreeSans 340 0 0 0 Q
port 11 nsew signal output
flabel locali s 799 242 833 276 0 FreeSans 340 0 0 0 CLK_N
port 1 nsew clock input
flabel locali s 3199 390 3233 424 0 FreeSans 340 0 0 0 Q_N
port 12 nsew signal output
flabel locali s 3199 464 3233 498 0 FreeSans 340 0 0 0 Q_N
port 12 nsew signal output
flabel locali s 3199 538 3233 572 0 FreeSans 340 0 0 0 Q_N
port 12 nsew signal output
flabel locali s 223 316 257 350 0 FreeSans 340 0 0 0 SCE
port 5 nsew signal input
flabel locali s 31 316 65 350 0 FreeSans 340 0 0 0 SCD
port 4 nsew signal input
flabel locali s 319 168 353 202 0 FreeSans 340 0 0 0 D
port 2 nsew signal input
flabel locali s 319 242 353 276 0 FreeSans 340 0 0 0 D
port 2 nsew signal input
flabel locali s 319 316 353 350 0 FreeSans 340 0 0 0 D
port 2 nsew signal input
flabel locali s 2623 316 2657 350 0 FreeSans 340 0 0 0 SET_B
port 6 nsew signal input
<< properties >>
string LEFsite unit
string LEFclass CORE
string FIXED_BBOX 0 0 3552 666
string GDS_FILE $PDKPATH/libs.ref/sky130_fd_sc_lp/gds/sky130_fd_sc_lp.gds
string LEFsymmetry X Y R90
string GDS_END 2990680
string GDS_START 2967988
<< end >>
